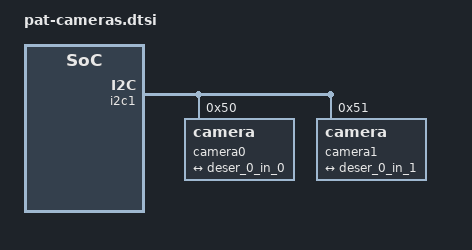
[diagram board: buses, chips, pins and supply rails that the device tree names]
/*
   default camera config for pat
   ar0231-yuv*4     1920x1080   video0~3
   ahd-yuv*4        1280x720    video4~7
   ahd-yuv*4        1920x1080   video8~11
*/

&i2c1 {
    camera0: camera@50 {
        reg = <0x50>;
        ser-alias-id = <0x40>;
        sensor-alias-id = <0x50>;

        #include "../cameras/ox3c_raw_1920x1080.dtsi"

        port {
            camera_0_out: endpoint@0 {
                remote-endpoint = <&deser_0_in_0>;
            };
        };
    };

    camera1: camera@51 {
        reg = <0x51>;
        ser-alias-id = <0x41>;
        sensor-alias-id = <0x51>;

        #include "../cameras/ox3c_raw_1920x1080.dtsi"

        port {
            camera_1_out: endpoint@0 {
                remote-endpoint = <&deser_0_in_1>;
            };
        };
    };

};
